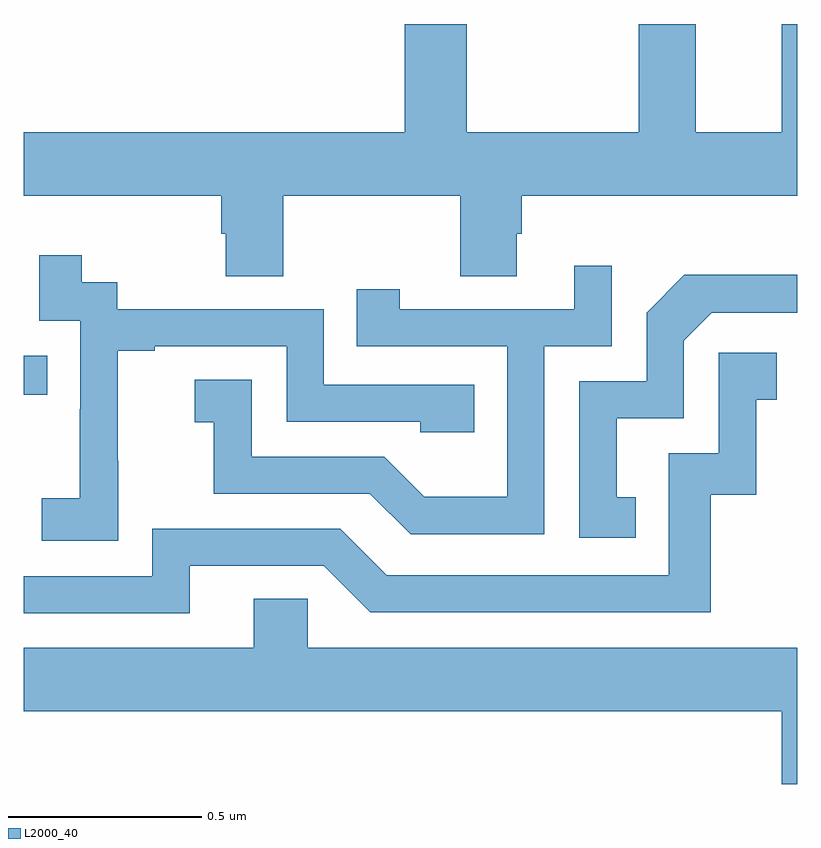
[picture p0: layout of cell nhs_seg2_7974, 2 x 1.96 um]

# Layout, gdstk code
import gdstk
lib = gdstk.Library(unit=1e-6, precision=1e-09)
def R(c, l, rs):  # rectangles x0, y0, x1, y1
    for r in rs: c.add(gdstk.rectangle(r[:2], r[2:], *l))
def P(c, l, *ps):  # polygons
    for p in ps: c.add(gdstk.Polygon(p, *l))
L2000_40 = (2000, 40)

nhs_seg2_7974 = lib.new_cell('nhs_seg2_7974')
R(nhs_seg2_7974, L2000_40, [(211,593.842,211.061,593.943)])
P(nhs_seg2_7974, L2000_40, [(211.671,594.356),(212.128,594.356),(212.128,594.148),(212.275,594.148),(212.275,594.258),(212.288,594.258),(212.288,594.356),(213,594.356),(213,594.8),(212.96,594.8),(212.96,594.52),(212.737,594.52),(212.737,594.8),(212.59,594.8),(212.59,594.52),(212.145,594.52),(212.145,594.8),(211.985,594.8),(211.985,594.52),(211,594.52),(211,594.356),(211.511,594.356),(211.511,594.258),(211.523,594.258),(211.523,594.148),(211.671,594.148)],
  [(211.245,593.671),(211.244,593.671),(211.244,593.955),(211.339,593.955),(211.339,593.967),(211.68,593.967),(211.68,593.772),(212.025,593.772),(212.025,593.745),(212.165,593.745),(212.165,593.868),(211.776,593.868),(211.776,594.063),(211.242,594.063),(211.242,594.132),(211.15,594.132),(211.15,594.202),(211.041,594.202),(211.041,594.033),(211.146,594.033),(211.146,593.804),(211.145,593.804),(211.145,593.575),(211.047,593.575),(211.047,593.465),(211.245,593.465)],
  [(212.346,593.967),(212.52,593.967),(212.52,594.175),(212.423,594.175),(212.423,594.063),(211.972,594.063),(211.972,594.115),(211.861,594.115),(211.861,593.967),(212.25,593.967),(212.25,593.578),(212.036,593.578),(211.932,593.682),(211.59,593.682),(211.59,593.881),(211.443,593.881),(211.443,593.771),(211.492,593.771),(211.492,593.586),(211.895,593.586),(212,593.481),(212.346,593.481)],
  [(212.582,593.577),(212.533,593.577),(212.533,593.781),(212.706,593.781),(212.706,593.982),(212.778,594.054),(213,594.054),(213,594.152),(212.708,594.152),(212.61,594.054),(212.61,593.877),(212.436,593.877),(212.436,593.472),(212.582,593.472)],
  [(211.429,593.4),(211.776,593.4),(211.896,593.28),(212.776,593.28),(212.776,593.583),(212.894,593.583),(212.894,593.829),(212.947,593.829),(212.947,593.95),(212.796,593.95),(212.796,593.691),(212.667,593.691),(212.667,593.376),(211.938,593.376),(211.818,593.496),(211.332,593.496),(211.332,593.373),(211,593.373),(211,593.277),(211.429,593.277)],
  [(213,593.188),(211.734,593.188),(211.734,593.315),(211.595,593.315),(211.595,593.188),(211,593.188),(211,593.024),(212.96,593.024),(212.96,592.836),(213,592.836)])

lib.write_gds('nhs_seg2_7974.gds')
